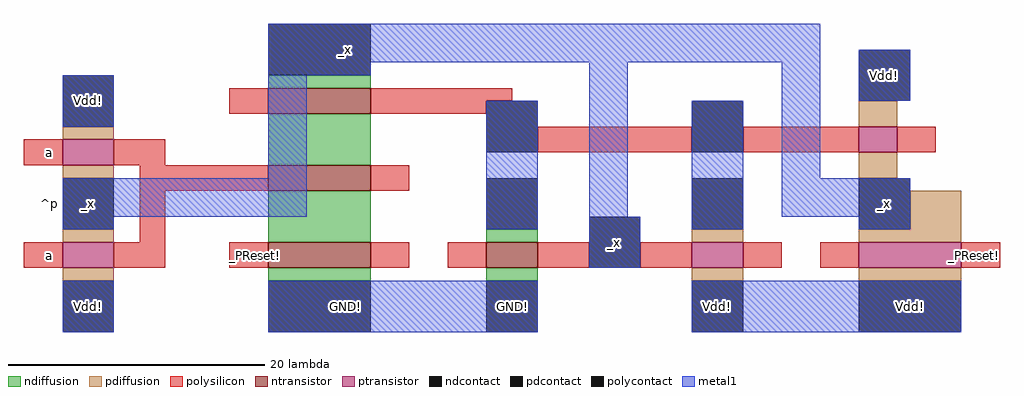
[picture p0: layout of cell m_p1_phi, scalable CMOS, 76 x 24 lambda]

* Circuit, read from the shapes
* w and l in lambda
.subckt m_p1_phi GND! Vdd! _PReset! _x a
M1 n1 _PReset! GND! VSUBS nfet w=8 l=2
M2 n2 a n1 VSUBS nfet w=8 l=2
M3 _x n3 n2 VSUBS nfet w=8 l=2
M4 n3 _x GND! VSUBS nfet w=4 l=2
M5 _x a Vdd! NWELL pfet w=4 l=2 m=2
M6 n3 _x Vdd! NWELL pfet w=4 l=2
M7 _x _PReset! Vdd! NWELL pfet w=8 l=2
M8 Vdd! n3 _x NWELL pfet w=3 l=2
.ends

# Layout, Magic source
magic
tech scmos
<< ndiffusion >>
rect -87 45 -79 46
rect -87 39 -79 43
rect -87 33 -79 37
rect -70 33 -66 34
rect -87 30 -79 31
rect -70 30 -66 31
<< pdiffusion >>
rect -103 41 -99 42
rect -41 42 -38 44
rect -103 38 -99 39
rect -103 33 -99 34
rect -41 38 -38 40
rect -54 33 -50 34
rect -37 34 -33 37
rect -41 33 -33 34
rect -103 30 -99 31
rect -54 30 -50 31
rect -41 30 -33 31
<< ntransistor >>
rect -87 43 -79 45
rect -87 37 -79 39
rect -87 31 -79 33
rect -70 31 -66 33
<< ptransistor >>
rect -103 39 -99 41
rect -41 40 -38 42
rect -103 31 -99 33
rect -54 31 -50 33
rect -41 31 -33 33
<< polysilicon >>
rect -90 43 -87 45
rect -79 44 -68 45
rect -79 43 -70 44
rect -106 39 -103 41
rect -99 39 -95 41
rect -66 40 -54 42
rect -50 40 -41 42
rect -38 40 -35 42
rect -97 37 -87 39
rect -79 37 -76 39
rect -97 33 -95 37
rect -106 31 -103 33
rect -99 31 -95 33
rect -90 31 -87 33
rect -79 31 -76 33
rect -73 31 -70 33
rect -66 31 -62 33
rect -58 31 -54 33
rect -50 31 -47 33
rect -44 31 -41 33
rect -33 31 -30 33
<< ndcontact >>
rect -87 46 -79 50
rect -70 34 -66 38
rect -87 26 -79 30
rect -70 26 -66 30
<< pdcontact >>
rect -103 42 -99 46
rect -41 44 -37 48
rect -103 34 -99 38
rect -54 34 -50 38
rect -41 34 -37 38
rect -103 26 -99 30
rect -54 26 -50 30
rect -41 26 -33 30
<< polycontact >>
rect -70 40 -66 44
rect -54 40 -50 44
rect -62 31 -58 35
<< metal1 >>
rect -87 47 -44 50
rect -87 46 -79 47
rect -103 42 -99 46
rect -87 38 -84 46
rect -103 35 -84 38
rect -103 34 -99 35
rect -70 34 -66 44
rect -62 35 -59 47
rect -62 31 -58 35
rect -54 34 -50 44
rect -47 38 -44 47
rect -41 44 -37 48
rect -47 35 -37 38
rect -41 34 -37 35
rect -103 26 -99 30
rect -87 26 -66 30
rect -54 26 -33 30
<< labels >>
rlabel polysilicon -32 32 -32 32 7 _PReset!
rlabel polysilicon -104 32 -104 32 3 a
rlabel polysilicon -104 40 -104 40 3 a
rlabel space -106 25 -102 47 7 ^p
rlabel polysilicon -88 32 -88 32 1 _PReset!
rlabel ndcontact -81 48 -81 48 5 _x
rlabel ndcontact -81 28 -81 28 1 GND!
rlabel ndcontact -68 28 -68 28 1 GND!
rlabel polycontact -60 33 -60 33 1 _x
rlabel pdcontact -52 28 -52 28 1 Vdd!
rlabel pdcontact -37 28 -37 28 8 Vdd!
rlabel pdcontact -39 36 -39 36 1 _x
rlabel pdcontact -101 28 -101 28 1 Vdd!
rlabel pdcontact -101 44 -101 44 5 Vdd!
rlabel pdcontact -101 36 -101 36 3 _x
rlabel pdcontact -39 46 -39 46 5 Vdd!
<< end >>
